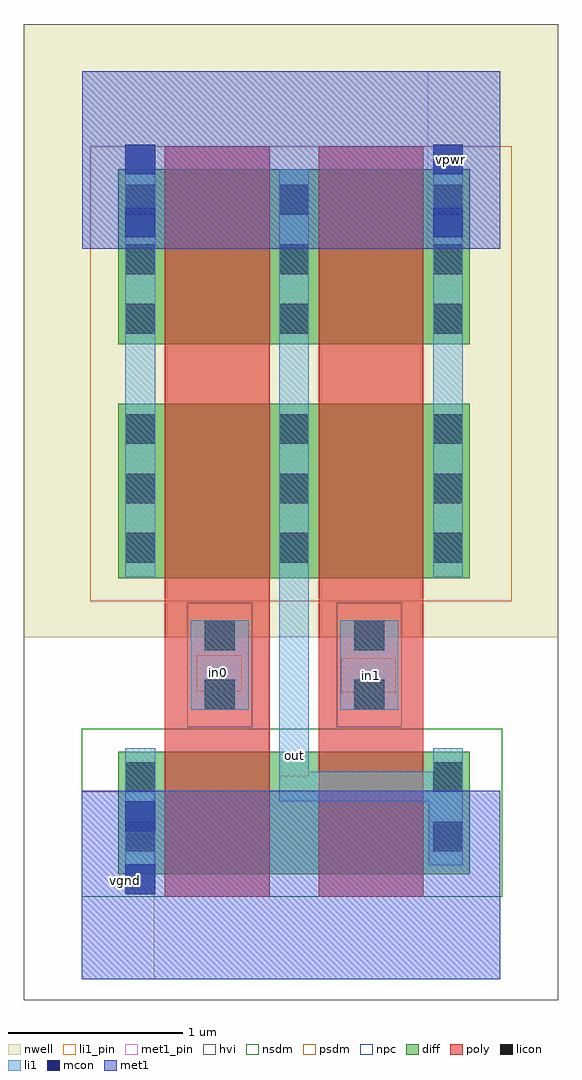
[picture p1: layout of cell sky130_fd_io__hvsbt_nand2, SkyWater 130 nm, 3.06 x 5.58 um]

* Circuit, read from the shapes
.subckt sky130_fd_io__hvsbt_nand2 in0 in1 out vgnd vpwr
XM1 n1 in0 vgnd VSUBS sky130_fd_pr__nfet_g5v0d10v5 w=0.7 l=0.6
XM2 out in1 n1 VSUBS sky130_fd_pr__nfet_g5v0d10v5 w=0.7 l=0.6
XM3 out in0 vpwr n2 sky130_fd_pr__pfet_g5v0d10v5 w=1 l=0.6 m=2
XM4 vpwr in1 out n2 sky130_fd_pr__pfet_g5v0d10v5 w=1 l=0.6 m=2
.ends

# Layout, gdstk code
from math import pi, radians
import gdstk
lib = gdstk.Library(unit=1e-6, precision=1e-09)
def R(c, l, rs):  # rectangles x0, y0, x1, y1
    for r in rs: c.add(gdstk.rectangle(r[:2], r[2:], *l))
def A(c, l, x, y, w, h, nx, ny, dx, dy):  # array of equal rectangles
    R(c, l, [(x+i*dx, y+j*dy, x+i*dx+w, y+j*dy+h) for i in range(nx) for j in range(ny)])
def P(c, l, *ps):  # polygons
    for p in ps: c.add(gdstk.Polygon(p, *l))
nwell = (64, 20)
diff = (65, 20)
poly = (66, 20)
licon = (66, 44)
li1_pin = (67, 16)
li1 = (67, 20)
mcon = (67, 44)
met1_pin = (68, 16)
met1 = (68, 20)
hvi = (75, 20)
nsdm = (93, 44)
psdm = (94, 20)
npc = (95, 20)

l1m1_cdns_5246887918527 = lib.new_cell('L1M1_CDNS_5246887918527')
R(l1m1_cdns_5246887918527, li1, [(0,0,0.53,0.17)])
R(l1m1_cdns_5246887918527, mcon, [(0,0,0.17,0.17), (0.36,0,0.53,0.17)])
R(l1m1_cdns_5246887918527, met1, [(-0.06,-0.03,0.59,0.2)])

pyl1_cdns_5246887918526 = lib.new_cell('PYL1_CDNS_5246887918526')
R(pyl1_cdns_5246887918526, poly, [(0,0,0.67,0.33)])
R(pyl1_cdns_5246887918526, licon, [(0.08,0.08,0.25,0.25), (0.42,0.08,0.59,0.25)])
R(pyl1_cdns_5246887918526, li1, [(0.08,0,0.59,0.33)])
R(pyl1_cdns_5246887918526, npc, [(-0.02,-0.02,0.69,0.35)])

dfl1sd_cdns_524688791853 = lib.new_cell('DFL1sd_CDNS_5246887918531')
R(dfl1sd_cdns_524688791853, diff, [(0,0,0.265,0.7)])
R(dfl1sd_cdns_524688791853, licon, [(0.055,0.06,0.225,0.23), (0.055,0.4,0.225,0.57)])
R(dfl1sd_cdns_524688791853, li1, [(0.055,-0.02,0.225,0.65)])
R(dfl1sd_cdns_524688791853, nsdm, [(-0.13,-0.13,0.395,0.83)])

nfet_cdns_5246887918530 = lib.new_cell('nfet_CDNS_5246887918530')
R(nfet_cdns_5246887918530, diff, [(-0.25,0,0,0.7), (0,0,0.6,0.7), (0.6,0,0.85,0.7)])
R(nfet_cdns_5246887918530, poly, [(0,-0.13,0.6,0), (0,-0.13,0.6,0.83), (0,0.7,0.6,0.83)])
R(nfet_cdns_5246887918530, li1, [(0.655,-0.02,0.825,0.65)])
R(nfet_cdns_5246887918530, hvi, [(-0.43,-0.18,1.045,0.88)])
R(nfet_cdns_5246887918530, nsdm, [(-0.38,-0.13,0.85,0.83)])
nfet_cdns_5246887918530.add(gdstk.Reference(dfl1sd_cdns_524688791853, (0.6,0)))
nfet_cdns_5246887918530.add(gdstk.Label('S', (-0.125,0.35), layer=83, texttype=44))
nfet_cdns_5246887918530.add(gdstk.Label('D', (0.74,0.315), layer=83, texttype=44))

nfet_cdns_5246887918532 = lib.new_cell('nfet_CDNS_5246887918532')
R(nfet_cdns_5246887918532, diff, [(-0.25,0,0,0.7), (0,0,0.6,0.7), (0.6,0,0.85,0.7)])
R(nfet_cdns_5246887918532, poly, [(0,-0.13,0.6,0), (0,-0.13,0.6,0.83), (0,0.7,0.6,0.83)])
R(nfet_cdns_5246887918532, li1, [(-0.225,-0.02,-0.055,0.65)])
R(nfet_cdns_5246887918532, hvi, [(-0.445,-0.18,1.03,0.88)])
R(nfet_cdns_5246887918532, nsdm, [(-0.25,-0.13,0.98,0.83)])
nfet_cdns_5246887918532.add(gdstk.Reference(dfl1sd_cdns_524688791853, (0,0), rotation=pi, x_reflection=True))
nfet_cdns_5246887918532.add(gdstk.Label('S', (-0.14,0.315), layer=83, texttype=44))
nfet_cdns_5246887918532.add(gdstk.Label('D', (0.725,0.35), layer=83, texttype=44))

dfl1sd_cdns_524688791852 = lib.new_cell('DFL1sd_CDNS_5246887918529')
R(dfl1sd_cdns_524688791852, nwell, [(-0.18,-0.18,0.445,1.18)])
R(dfl1sd_cdns_524688791852, diff, [(0,0,0.265,1)])
A(dfl1sd_cdns_524688791852, licon, 0.055, 0.06, 0.17, 0.17, 1, 3, 0, 0.34)
R(dfl1sd_cdns_524688791852, li1, [(0.055,-0.02,0.225,0.99)])
R(dfl1sd_cdns_524688791852, psdm, [(-0.13,-0.13,0.395,1.13)])

pfet_cdns_5246887918528 = lib.new_cell('pfet_CDNS_5246887918528')
R(pfet_cdns_5246887918528, nwell, [(-0.595,-0.33,1.195,1.33), (-0.445,-0.18,1.045,1.18)])
R(pfet_cdns_5246887918528, diff, [(-0.25,0,0,1), (0,0,0.6,1), (0.6,0,0.85,1)])
R(pfet_cdns_5246887918528, poly, [(0,-0.13,0.6,0), (0,-0.13,0.6,1.13), (0,1,0.6,1.13)])
R(pfet_cdns_5246887918528, li1, [(-0.225,-0.02,-0.055,0.99), (0.655,-0.02,0.825,0.99)])
R(pfet_cdns_5246887918528, hvi, [(-0.595,-0.33,1.195,1.33)])
R(pfet_cdns_5246887918528, psdm, [(-0.25,-0.13,0.85,1.13)])
pfet_cdns_5246887918528.add(gdstk.Reference(dfl1sd_cdns_524688791852, (0.6,0)))
pfet_cdns_5246887918528.add(gdstk.Reference(dfl1sd_cdns_524688791852, (0,0), rotation=pi, x_reflection=True))
pfet_cdns_5246887918528.add(gdstk.Label('S', (-0.14,0.485), layer=83, texttype=44))
pfet_cdns_5246887918528.add(gdstk.Label('D', (0.74,0.485), layer=83, texttype=44))

sky130_fd_io__hvsbt_nand = lib.new_cell('sky130_fd_io__hvsbt_nand2')
R(sky130_fd_io__hvsbt_nand, nwell, [(-0.21,2.075,2.845,5.58)])
R(sky130_fd_io__hvsbt_nand, poly, [(0.595,1.53,1.195,2.48), (1.475,1.55,2.075,2.48), (0.595,3.54,1.195,3.62), (1.475,3.54,2.075,3.62)])
R(sky130_fd_io__hvsbt_nand, li1_pin, [(1.25,1.28,1.42,2.66), (1.605,1.76,1.915,1.955), (0.78,1.765,1.035,1.97)])
R(sky130_fd_io__hvsbt_nand, li1, [(0.37,2.59,0.54,4.74), (2.13,2.59,2.3,4.74), (2.13,4.275,2.3,4.89), (0.37,4.295,0.54,4.89)])
P(sky130_fd_io__hvsbt_nand, li1, [(2.3,1.305),(1.42,1.305),(1.42,4.75),(1.25,4.75),(1.25,1.135),(2.105,1.135),(2.105,0.77),(2.3,0.77)])
R(sky130_fd_io__hvsbt_nand, met1_pin, [(0.12,0.12,0.535,1.19), (2.1,4.295,2.515,5.31)])
R(sky130_fd_io__hvsbt_nand, met1, [(0.12,0.12,2.515,1.195), (0.125,4.295,2.515,5.31)])
R(sky130_fd_io__hvsbt_nand, hvi, [(-0.21,0,2.845,5.58)])
R(sky130_fd_io__hvsbt_nand, nsdm, [(0.12,0.59,2.525,1.55)])
R(sky130_fd_io__hvsbt_nand, psdm, [(0.17,2.28,2.58,4.88)])
sky130_fd_io__hvsbt_nand.add(gdstk.Reference(l1m1_cdns_5246887918527, (0.54,4.36), rotation=pi/2))
sky130_fd_io__hvsbt_nand.add(gdstk.Reference(l1m1_cdns_5246887918527, (2.3,4.36), rotation=pi/2))
sky130_fd_io__hvsbt_nand.add(gdstk.Reference(l1m1_cdns_5246887918527, (0.54,1.135), rotation=3*pi/2, x_reflection=True))
sky130_fd_io__hvsbt_nand.add(gdstk.Reference(pyl1_cdns_5246887918526, (1.93,1.58), rotation=pi/2))
sky130_fd_io__hvsbt_nand.add(gdstk.Reference(pyl1_cdns_5246887918526, (1.075,1.58), rotation=pi/2))
sky130_fd_io__hvsbt_nand.add(gdstk.Reference(nfet_cdns_5246887918530, (1.475,1.42), x_reflection=True))
sky130_fd_io__hvsbt_nand.add(gdstk.Reference(nfet_cdns_5246887918532, (0.595,1.42), x_reflection=True))
sky130_fd_io__hvsbt_nand.add(gdstk.Reference(pfet_cdns_5246887918528, (0.595,3.75)))
sky130_fd_io__hvsbt_nand.add(gdstk.Reference(pfet_cdns_5246887918528, (1.475,3.75)))
sky130_fd_io__hvsbt_nand.add(gdstk.Reference(pfet_cdns_5246887918528, (0.595,3.41), x_reflection=True))
sky130_fd_io__hvsbt_nand.add(gdstk.Reference(pfet_cdns_5246887918528, (1.475,3.41), x_reflection=True))
sky130_fd_io__hvsbt_nand.add(gdstk.Label('vpwr', (2.23,4.805), layer=68, texttype=5))
sky130_fd_io__hvsbt_nand.add(gdstk.Label('vgnd', (0.37,0.685), layer=68, texttype=5))
sky130_fd_io__hvsbt_nand.add(gdstk.Label('out', (1.335,1.4), layer=67, texttype=5))
sky130_fd_io__hvsbt_nand.add(gdstk.Label('in0', (0.905,1.87), layer=67, texttype=5))
sky130_fd_io__hvsbt_nand.add(gdstk.Label('in1', (1.78,1.855), layer=67, texttype=5))

lib.write_gds('sky130_fd_io__hvsbt_nand2.gds')
